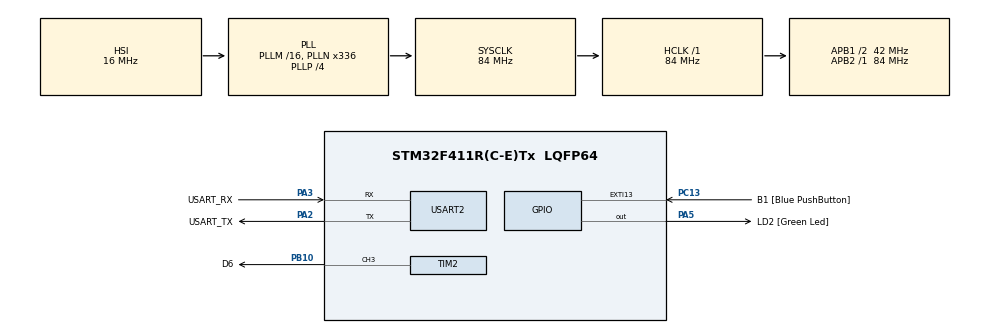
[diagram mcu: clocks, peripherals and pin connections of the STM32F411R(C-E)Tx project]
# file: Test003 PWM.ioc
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Mcu.Family=STM32F4
Mcu.Name=STM32F411R(C-E)Tx
Mcu.Package=LQFP64
NVIC.EXTI15_10_IRQn=true\:0\:0\:false\:false\:true\:true\:true\:true
NVIC.PriorityGroup=NVIC_PRIORITYGROUP_0
PA13.GPIO_Label=TMS
PA13.Mode=Serial_Wire
PA13.Signal=SYS_JTMS-SWDIO
PA14.GPIO_Label=TCK
PA14.Mode=Serial_Wire
PA14.Signal=SYS_JTCK-SWCLK
PA2.GPIO_Label=USART_TX
PA2.Mode=Asynchronous
PA2.Signal=USART2_TX
PA3.GPIO_Label=USART_RX
PA3.Mode=Asynchronous
PA3.Signal=USART2_RX
PA5.GPIO_Label=LD2 [Green Led]
PA5.Signal=GPIO_Output
PB10.GPIO_Label=D6
PB10.Signal=S_TIM2_CH3
PB3.GPIO_Label=SWO
PB3.Signal=SYS_JTDO-SWO
PC13-ANTI_TAMP.GPIO_Label=B1 [Blue PushButton]
PC13-ANTI_TAMP.GPIO_ModeDefaultEXTI=GPIO_MODE_IT_FALLING
PC13-ANTI_TAMP.Signal=GPXTI13
PC14-OSC32_IN.Mode=LSE-External-Oscillator
PC14-OSC32_IN.Signal=RCC_OSC32_IN
PC15-OSC32_OUT.Mode=LSE-External-Oscillator
PC15-OSC32_OUT.Signal=RCC_OSC32_OUT
PH0\ -\ OSC_IN.Mode=HSE-External-Clock-Source
PH0\ -\ OSC_IN.Signal=RCC_OSC_IN
PH1\ -\ OSC_OUT.Mode=HSE-External-Clock-Source
PH1\ -\ OSC_OUT.Signal=RCC_OSC_OUT
ProjectManager.HeapSize=0x200
ProjectManager.StackSize=0x400
ProjectManager.TargetToolchain=STM32CubeIDE
RCC.48MHZClocksFreq_Value=84000000
RCC.AHBFreq_Value=84000000
RCC.APB1CLKDivider=RCC_HCLK_DIV2
RCC.APB1Freq_Value=42000000
RCC.APB1TimFreq_Value=84000000
RCC.APB2Freq_Value=84000000
RCC.APB2TimFreq_Value=84000000
RCC.CortexFreq_Value=84000000
RCC.FLatency-AdvancedSettings=FLASH_LATENCY_2
RCC.HCLKFreq_Value=84000000
RCC.HSE_VALUE=8000000
RCC.HSI_VALUE=16000000
RCC.PLLN=336
RCC.PLLP=RCC_PLLP_DIV4
RCC.SYSCLKFreq_VALUE=84000000
RCC.SYSCLKSource=RCC_SYSCLKSOURCE_PLLCLK
RCC.VCOOutputFreq_Value=336000000
SH.S_TIM2_CH3.0=TIM2_CH3,PWM Generation3 CH3
TIM2.Channel-PWM\ Generation3\ CH3=TIM_CHANNEL_3
TIM2.Period=1000-1
TIM2.Prescaler=8400-1
USART2.VirtualMode=VM_ASYNC
board=NUCLEO-F411RE

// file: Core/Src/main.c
/* USER CODE BEGIN Header */
/**
  ******************************************************************************
  * @file           : main.c
  * @brief          : Main program body
  ******************************************************************************
  * @attention
  *
  * Copyright (c) 2024 STMicroelectronics.
  * All rights reserved.
  *
  * This software is licensed under terms that can be found in the LICENSE file
  * in the root directory of this software component.
  * If no LICENSE file comes with this software, it is provided AS-IS.
  *
  ******************************************************************************
  */
/* USER CODE END Header */
#include "main.h"

TIM_HandleTypeDef htim2;

UART_HandleTypeDef huart2;

void SystemClock_Config(void);
static void MX_GPIO_Init(void);
static void MX_USART2_UART_Init(void);
static void MX_TIM2_Init(void);

/* USER CODE BEGIN 0 */
int mux = 0;
void HAL_GPIO_EXTI_Callback(uint16_t GPIO_Pin)
{
	if(++mux > 20) mux = 1;
}

enum {DO=0,Do,RE,Re,MI,FA,Fa,SL,Sl,LA,La,CI,hDO,hDo,hRE,hRe,hMI,hFA,hFa,hSL,hSl,hLA,hLa,hCI}; //  enum : 치환
double pitchF[] = {130.81, 138.59, 146.83, 155.56, 164.81, 174.61, 185.00, 196.00, 207.65, 220.00, 233.08, 246.94, 261.62, 277.18, 293.66, 311.12, 329.62, 349.22, 370.00, 392.00, 415.30, 440.00, 466.16, 493.88};
int p3[24];
int arr = 1000, clk = 84000000;
void calcPitch()
{
	for(int i=0;i<24;i++)
	{
		p3[i] = clk / (2*pitchF[i] * arr);
	}
}
void PlaySound(int pIdx, int rtm)
{
	htim2.Instance->PSC = p3[pIdx];
	HAL_Delay(2000 / rtm);
}

int Song[] = {SL,SL,MI,FA,SL,LA,LA,SL,SL,hDO,hMI,hRE,hDO,hRE,hMI,hMI,hRE,hRE,hDO,hRE,hDO,LA,LA,SL,SL,SL,MI,RE,DO, -1};
int Rythm[] = {4,4,8,8,4,4,4,2,4,4,4,8,8,1,4,4,4,4,4,8,8,4,4,4,4,4,8,8,1};
/* USER CODE END 0 */

int main(void)
{

  /* MCU Configuration--------------------------------------------------------*/

  /* Reset of all peripherals, Initializes the Flash interface and the Systick. */
  HAL_Init();

  /* Configure the system clock */
  SystemClock_Config();

  /* Initialize all configured peripherals */
  MX_GPIO_Init();
  MX_USART2_UART_Init();
  MX_TIM2_Init();
  /* USER CODE BEGIN 2 */
ProgramStart("Song");
calcPitch();
HAL_TIM_PWM_Start(&htim2, TIM_CHANNEL_3);
htim2.Instance->CCR3 = htim2.Instance->ARR / 2; // duty rate = 50% sound volume
  /* USER CODE END 2 */

  /* Infinite loop */
  /* USER CODE BEGIN WHILE */
  int sn = 2800;	// C3(3 octave do)
  mux = 1;
  while (1)
  {
    /* USER CODE END WHILE */

    /* USER CODE BEGIN 3 */
	  for(int i = 0; Song[i] != -1; i++)
	  {
		  PlaySound(Song[i], Rythm[i]);
	  }
	 // while(Song[i] != -1 /* 수행조건식 */)
	  htim2.Instance->CCR3 = 0; // Duty rate 0;
	  // int f = 84000L / (htim2.Instance->PSC);
	  printf("Song Over. Press B! button to restart...\r\n");
	  Wait();
  }
  /* USER CODE END 3 */
}

void SystemClock_Config(void)
{
  RCC_OscInitTypeDef RCC_OscInitStruct = {0};
  RCC_ClkInitTypeDef RCC_ClkInitStruct = {0};

  /** Configure the main internal regulator output voltage
  */
  __HAL_RCC_PWR_CLK_ENABLE();
  __HAL_PWR_VOLTAGESCALING_CONFIG(PWR_REGULATOR_VOLTAGE_SCALE1);

  /** Initializes the RCC Oscillators according to the specified parameters
  * in the RCC_OscInitTypeDef structure.
  */
  RCC_OscInitStruct.OscillatorType = RCC_OSCILLATORTYPE_HSI;
  RCC_OscInitStruct.HSIState = RCC_HSI_ON;
  RCC_OscInitStruct.HSICalibrationValue = RCC_HSICALIBRATION_DEFAULT;
  RCC_OscInitStruct.PLL.PLLState = RCC_PLL_ON;
  RCC_OscInitStruct.PLL.PLLSource = RCC_PLLSOURCE_HSI;
  RCC_OscInitStruct.PLL.PLLM = 16;
  RCC_OscInitStruct.PLL.PLLN = 336;
  RCC_OscInitStruct.PLL.PLLP = RCC_PLLP_DIV4;
  RCC_OscInitStruct.PLL.PLLQ = 4;
  if (HAL_RCC_OscConfig(&RCC_OscInitStruct) != HAL_OK)
  {
    Error_Handler();
  }

  /** Initializes the CPU, AHB and APB buses clocks
  */
  RCC_ClkInitStruct.ClockType = RCC_CLOCKTYPE_HCLK|RCC_CLOCKTYPE_SYSCLK
                              |RCC_CLOCKTYPE_PCLK1|RCC_CLOCKTYPE_PCLK2;
  RCC_ClkInitStruct.SYSCLKSource = RCC_SYSCLKSOURCE_PLLCLK;
  RCC_ClkInitStruct.AHBCLKDivider = RCC_SYSCLK_DIV1;
  RCC_ClkInitStruct.APB1CLKDivider = RCC_HCLK_DIV2;
  RCC_ClkInitStruct.APB2CLKDivider = RCC_HCLK_DIV1;

  if (HAL_RCC_ClockConfig(&RCC_ClkInitStruct, FLASH_LATENCY_2) != HAL_OK)
  {
    Error_Handler();
  }
}

static void MX_TIM2_Init(void)
{

  TIM_MasterConfigTypeDef sMasterConfig = {0};
  TIM_OC_InitTypeDef sConfigOC = {0};

  htim2.Instance = TIM2;
  htim2.Init.Prescaler = 8400-1;
  htim2.Init.CounterMode = TIM_COUNTERMODE_UP;
  htim2.Init.Period = 1000-1;
  htim2.Init.ClockDivision = TIM_CLOCKDIVISION_DIV1;
  htim2.Init.AutoReloadPreload = TIM_AUTORELOAD_PRELOAD_DISABLE;
  if (HAL_TIM_PWM_Init(&htim2) != HAL_OK)
  {
    Error_Handler();
  }
  sMasterConfig.MasterOutputTrigger = TIM_TRGO_RESET;
  sMasterConfig.MasterSlaveMode = TIM_MASTERSLAVEMODE_DISABLE;
  if (HAL_TIMEx_MasterConfigSynchronization(&htim2, &sMasterConfig) != HAL_OK)
  {
    Error_Handler();
  }
  sConfigOC.OCMode = TIM_OCMODE_PWM1;
  sConfigOC.Pulse = 0;
  sConfigOC.OCPolarity = TIM_OCPOLARITY_HIGH;
  sConfigOC.OCFastMode = TIM_OCFAST_DISABLE;
  if (HAL_TIM_PWM_ConfigChannel(&htim2, &sConfigOC, TIM_CHANNEL_3) != HAL_OK)
  {
    Error_Handler();
  }
  HAL_TIM_MspPostInit(&htim2);

}

static void MX_USART2_UART_Init(void)
{

  huart2.Instance = USART2;
  huart2.Init.BaudRate = 115200;
  huart2.Init.WordLength = UART_WORDLENGTH_8B;
  huart2.Init.StopBits = UART_STOPBITS_1;
  huart2.Init.Parity = UART_PARITY_NONE;
  huart2.Init.Mode = UART_MODE_TX_RX;
  huart2.Init.HwFlowCtl = UART_HWCONTROL_NONE;
  huart2.Init.OverSampling = UART_OVERSAMPLING_16;
  if (HAL_UART_Init(&huart2) != HAL_OK)
  {
    Error_Handler();
  }

}

static void MX_GPIO_Init(void)
{
  GPIO_InitTypeDef GPIO_InitStruct = {0};

  /* GPIO Ports Clock Enable */
  __HAL_RCC_GPIOC_CLK_ENABLE();
  __HAL_RCC_GPIOH_CLK_ENABLE();
  __HAL_RCC_GPIOA_CLK_ENABLE();
  __HAL_RCC_GPIOB_CLK_ENABLE();

  /*Configure GPIO pin Output Level */
  HAL_GPIO_WritePin(LD2_GPIO_Port, LD2_Pin, GPIO_PIN_RESET);

  /*Configure GPIO pin : B1_Pin */
  GPIO_InitStruct.Pin = B1_Pin;
  GPIO_InitStruct.Mode = GPIO_MODE_IT_FALLING;
  GPIO_InitStruct.Pull = GPIO_NOPULL;
  HAL_GPIO_Init(B1_GPIO_Port, &GPIO_InitStruct);

  /*Configure GPIO pin : LD2_Pin */
  GPIO_InitStruct.Pin = LD2_Pin;
  GPIO_InitStruct.Mode = GPIO_MODE_OUTPUT_PP;
  GPIO_InitStruct.Pull = GPIO_NOPULL;
  GPIO_InitStruct.Speed = GPIO_SPEED_FREQ_LOW;
  HAL_GPIO_Init(LD2_GPIO_Port, &GPIO_InitStruct);

  /* EXTI interrupt init*/
  HAL_NVIC_SetPriority(EXTI15_10_IRQn, 0, 0);
  HAL_NVIC_EnableIRQ(EXTI15_10_IRQn);

}

void Error_Handler(void)
{
  __disable_irq();
  while (1)
  {
  }
}
